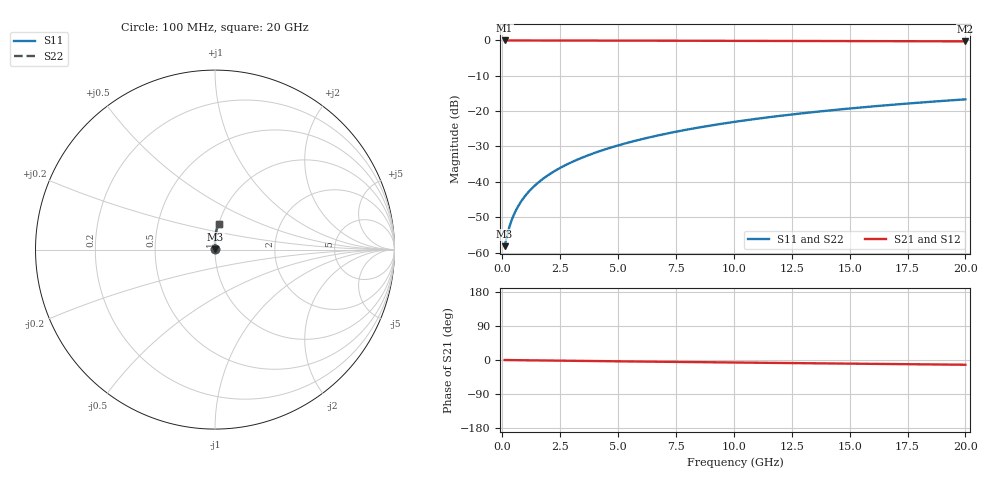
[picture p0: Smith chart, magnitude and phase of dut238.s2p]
! Touchstone file exported from HFSS 2024.1.0
!  File:  C:/UserFiles/LocalFiles/RDL_TSV_Batchsim/temp_RDL_bottom_238_1778701136.aedt
!  Generated:  03:41:25 AM May 14, 2026
!  Design:  RDL_bottom
!  Project:  temp_RDL_bottom_238_1778701136
!  Setup:  Setup1
!  Solution:  Sweep
! Variables:
!  dtsv = 10.80580581um
!  hbump = 3um
!  htsv = 64.06um
!  ldown = 132.62um
!  lrdl = 100um
!  p = 40
!  p1 = 55.35um
!  rhole = 1um
!  t = 450um
!  tdown = 2.64um
!  trdl = 3.915915916um
!  wdown = 26um
!  wrdl = 20um
# GHz S MA R 50.000000
! Terminal data exported
! Port[1] = RDL1_T1
! Port[2] = RDL1_T2
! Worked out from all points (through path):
!   200 points, 100 MHz to 20 GHz, reference 50 ohm
!   highest |S21| = -0.01 dB at 100 MHz (marker M1); lowest = -0.3 dB at 20 GHz (marker M2)
!   group delay of S21, straight-line fit = 1.72 ps
!   lowest |S11| = -58.2 dB at 100 MHz (marker M3), VSWR 1.00, Z = 50.1 + j0.0677 ohm
!   |S11| at or under -10 dB: start of sweep to end of sweep
!   |S22| runs from -58.2 to -16.7 dB; largest |S21 - S12| = 3.2e-15
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0.1  0.001229 33.4  0.999 -0.1  0.999 -0.1  0.001229 33.4
! Gamma 0 0 0 0
! Port Impedance 50 0 50 0
0.2  0.001705 51.7  0.9989 -0.2  0.9989 -0.2  0.001705 51.7
0.3  0.002262 61.1  0.9989 -0.2  0.9989 -0.2  0.002262 61.1
0.4  0.00284 66.7  0.9988 -0.3  0.9988 -0.3  0.00284 66.7
0.5  0.003424 70.4  0.9988 -0.4  0.9988 -0.4  0.003424 70.4
0.6  0.004011 73.2  0.9987 -0.4  0.9987 -0.4  0.004011 73.2
0.8  0.005193 77.0  0.9986 -0.6  0.9986 -0.6  0.005193 77.0
1.1  0.006991 80.6  0.9984 -0.8  0.9984 -0.8  0.006991 80.6
1.3  0.008207 82.3  0.9983 -0.9  0.9983 -0.9  0.008207 82.3
1.6  0.01005 84.1  0.9981 -1.2  0.9981 -1.2  0.01005 84.1
2.1  0.01318 86.2  0.9977 -1.5  0.9977 -1.5  0.01318 86.2
2.7  0.01703 87.9  0.9971 -1.9  0.9971 -1.9  0.01703 87.9
3.5  0.02232 89.3  0.9961 -2.5  0.9961 -2.5  0.02232 89.3
4.2  0.0271 90.0  0.9951 -3.0  0.9951 -3.0  0.0271 90.0
5  0.03272 90.5  0.9939 -3.5  0.9939 -3.5  0.03272 90.5
5.9  0.03921 90.7  0.9925 -4.1  0.9925 -4.1  0.03921 90.7
6.8  0.04587 90.6  0.9911 -4.6  0.9911 -4.6  0.04587 90.6
8.4  0.05797 90.0  0.9885 -5.6  0.9885 -5.6  0.05797 90.0
10.1  0.07105 89.1  0.9858 -6.7  0.9858 -6.7  0.07105 89.1
13.4  0.09658 86.8  0.9807 -8.7  0.9807 -8.7  0.09658 86.8
16.7  0.1219 84.3  0.9758 -10.6  0.9758 -10.6  0.1219 84.3
20  0.1468 81.9  0.9709 -12.5  0.9709 -12.5  0.1468 81.9
